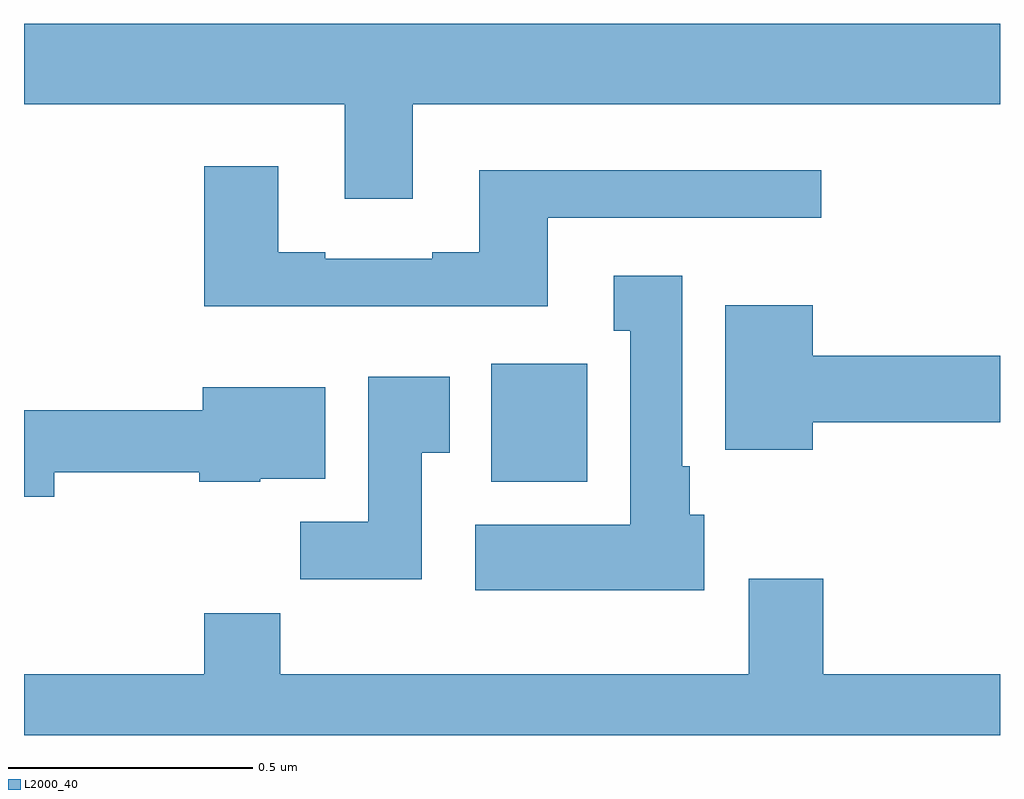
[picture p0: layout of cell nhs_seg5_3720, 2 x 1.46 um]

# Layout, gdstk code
import gdstk
lib = gdstk.Library(unit=1e-6, precision=1e-09)
def R(c, l, rs):  # rectangles x0, y0, x1, y1
    for r in rs: c.add(gdstk.rectangle(r[:2], r[2:], *l))
def P(c, l, *ps):  # polygons
    for p in ps: c.add(gdstk.Polygon(p, *l))
L2000_40 = (2000, 40)

nhs_seg5_3720 = lib.new_cell('nhs_seg5_3720')
R(nhs_seg5_3720, L2000_40, [(161.957,857.318,162.154,857.56)])
P(nhs_seg5_3720, L2000_40, [(161.797,858.092),(163,858.092),(163,858.256),(161,858.256),(161,858.092),(161.657,858.092),(161.657,857.898),(161.797,857.898)],
  [(162.073,857.859),(162.634,857.859),(162.634,857.956),(161.933,857.956),(161.933,857.788),(161.837,857.788),(161.837,857.775),(161.617,857.775),(161.617,857.788),(161.521,857.788),(161.521,857.965),(161.369,857.965),(161.369,857.678),(162.073,857.678)],
  [(162.394,857.25),(162.364,857.25),(162.364,857.35),(162.349,857.35),(162.349,857.74),(162.209,857.74),(162.209,857.627),(162.242,857.627),(162.242,857.23),(161.925,857.23),(161.925,857.096),(162.394,857.096)],
  [(162.616,857.44),(163,857.44),(163,857.576),(162.616,857.576),(162.616,857.68),(162.437,857.68),(162.437,857.384),(162.616,857.384)],
  [(161.815,857.377),(161.872,857.377),(161.872,857.533),(161.705,857.533),(161.705,857.236),(161.566,857.236),(161.566,857.118),(161.815,857.118)],
  [(161.062,857.337),(161.359,857.337),(161.359,857.318),(161.484,857.318),(161.484,857.324),(161.617,857.324),(161.617,857.512),(161.366,857.512),(161.366,857.465),(161,857.465),(161,857.287),(161.062,857.287)],
  [(163,856.924),(162.638,856.924),(162.638,857.119),(162.485,857.119),(162.485,856.924),(161.525,856.924),(161.525,857.048),(161.369,857.048),(161.369,856.924),(161,856.924),(161,856.799),(163,856.799)])

lib.write_gds('nhs_seg5_3720.gds')
